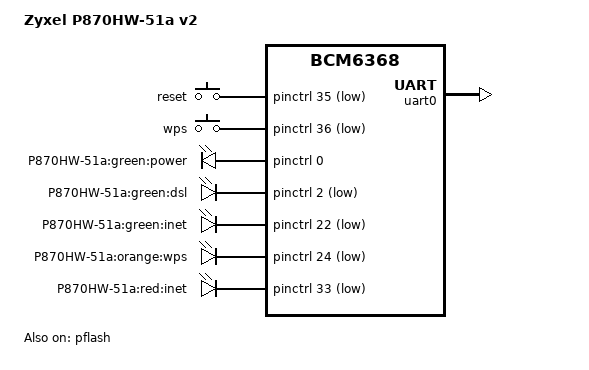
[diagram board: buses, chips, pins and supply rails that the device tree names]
/dts-v1/;

#include "bcm6368.dtsi"

#include <dt-bindings/input/input.h>

/ {
	model = "Zyxel P870HW-51a v2";
	compatible = "zyxel,p870hw-51a-v2", "brcm,bcm6368";

	chosen {
		bootargs = "rootfstype=squashfs,jffs2 noinitrd console=ttyS0,115200";
		stdout-path = "serial0:115200n8";
	};

	keys {
		compatible = "gpio-keys-polled";
		#address-cells = <1>;
		#size-cells = <0>;
		poll-interval = <20>;

		reset {
			label = "reset";
			gpios = <&pinctrl 35 1>;
			linux,code = <KEY_RESTART>;
			debounce-interval = <60>;
		};

		wps {
			label = "wps";
			gpios = <&pinctrl 36 1>;
			linux,code = <KEY_WPS_BUTTON>;
			debounce-interval = <60>;
		};
	};

	leds {
		compatible = "gpio-leds";

		power_green {
			label = "P870HW-51a:green:power";
			gpios = <&pinctrl 0 0>;
			default-state = "on";
		};
		dsl_green {
			label = "P870HW-51a:green:dsl";
			gpios = <&pinctrl 2 1>;
		};
		inet_green {
			label = "P870HW-51a:green:inet";
			gpios = <&pinctrl 22 1>;
		};
		wps_orange {
			label = "P870HW-51a:orange:wps";
			gpios = <&pinctrl 24 1>;
		};
		inet_red {
			label = "P870HW-51a:red:inet";
			gpios = <&pinctrl 33 1>;
		};
	};
};

&pflash {
	status = "ok";

	partitions {
		compatible = "fixed-partitions";
		#address-cells = <1>;
		#size-cells = <1>;

		cfe@0 {
			label = "CFE";
			reg = <0x000000 0x010000>;
			read-only;
		};

		linux@10000 {
			label = "linux";
			reg = <0x010000 0x3e0000>;
			compatible = "brcm,bcm963xx-imagetag";
		};

		nvram@3f0000 {
			label = "nvram";
			reg = <0x3f0000 0x010000>;
		};
	};
};

&pinctrl {
	pinctrl-names = "default";
	pinctrl-0 = <&pinctrl_pci>;
};

&uart0 {
	status = "ok";
};
